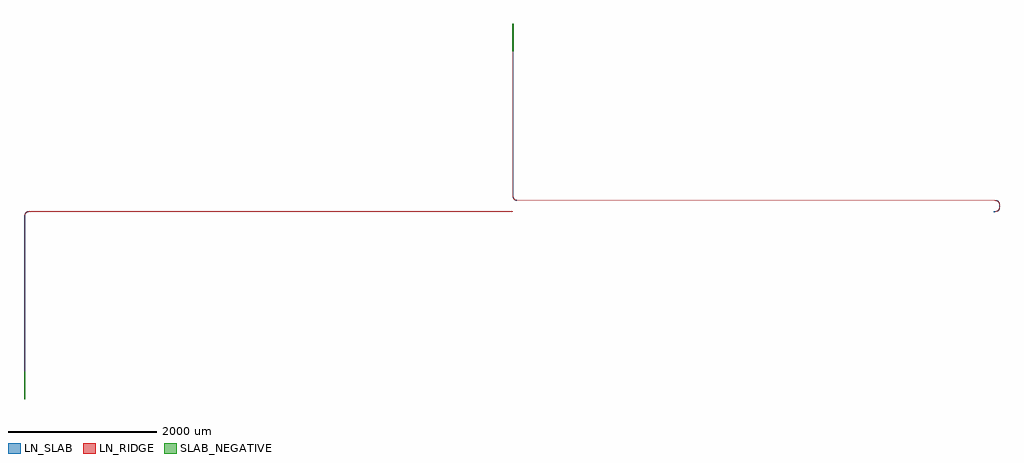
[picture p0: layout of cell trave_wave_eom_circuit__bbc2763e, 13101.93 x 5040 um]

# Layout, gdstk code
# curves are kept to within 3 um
import gdstk
lib = gdstk.Library(unit=1e-6, precision=1e-09)
def R(c, l, rs):  # rectangles x0, y0, x1, y1
    for r in rs: c.add(gdstk.rectangle(r[:2], r[2:], *l))
def P(c, l, *ps):  # polygons
    for p in ps: c.add(gdstk.Polygon(p, *l))
LN_RIDGE = (2, 0)
LN_SLAB = (3, 0)
SLAB_NEGATIVE = (3, 1)

trave_wave_eom_circuit__ = lib.new_cell('trave_wave_eom_circuit__bbc2763e')
P(trave_wave_eom_circuit__, LN_RIDGE, [(13106.93,-2.25),(13106.93,-1.25),(13119.546,-1.217),(13127.811,-0.946),(13135.5,-0.252),(13141.922,0.822),(13147.705,2.307),(13152.817,4.148),(13157.611,6.439),(13162.258,9.279),(13167.09,13.019),(13171.543,17.394),(13175.445,22.267),(13178.677,27.452),(13181.284,32.977),(13183.249,38.747),(13184.694,44.952),(13185.706,52.059),(13186.078,56.571),(13186.338,62.565),(13186.414,79.264),(13186.126,89.131),(13185.363,97.347),(13183.982,104.927),(13182.037,111.541),(13179.539,117.399),(13177.96,120.321),(13176.273,123.028),(13174.182,125.944),(13171.898,128.71),(13169.524,131.22),(13166.789,133.742),(13163.988,135.984),(13160.929,138.102),(13157.611,140.061),(13154.521,141.606),(13151.34,142.943),(13147.705,144.193),(13144.123,145.178),(13140.228,146.014),(13131.928,147.142),(13122.215,147.668),(6726.592,147.75),(6714.805,147.942),(6705.169,148.706),(6700.779,149.359),(6696.821,150.163),(6692.913,151.195),(6689.329,152.386),(6684.843,154.272),(6680.774,156.424),(6677.015,158.84),(6673.264,161.736),(6670.072,164.665),(6666.951,168.049),(6664.055,171.8),(6661.639,175.559),(6659.604,179.384),(6657.838,183.483),(6656.41,187.698),(6655.2,192.394),(6654.29,197.289),(6653.667,202.224),(6653.206,208.518),(6653.01,214.817),(6652.965,2150),(6653.34,2390),(6653.59,2390),(6653.965,2150),(6654.012,214.699),(6654.225,208.168),(6654.623,202.722),(6655.278,197.442),(6656.148,192.739),(6657.331,188.11),(6658.772,183.84),(6660.505,179.817),(6662.435,176.179),(6664.873,172.376),(6667.715,168.695),(6670.871,165.28),(6674.113,162.329),(6677.591,159.658),(6681.394,157.22),(6685.513,155.062),(6689.675,153.324),(6693.325,152.116),(6697.176,151.108),(6701.083,150.321),(6705.423,149.682),(6714.714,148.947),(6726.593,148.75),(13121.971,148.674),(13131.886,148.15),(13140.146,147.046),(13144.099,146.213),(13147.87,145.188),(13151.319,144.02),(13154.692,142.627),(13158.087,140.94),(13161.126,139.162),(13164.369,136.947),(13167.131,134.764),(13169.743,132.404),(13172.376,129.676),(13174.726,126.875),(13177.03,123.695),(13178.756,120.941),(13180.433,117.846),(13182.978,111.878),(13184.955,105.157),(13186.318,97.746),(13187.101,89.59),(13187.409,79.808),(13187.341,62.673),(13186.728,52.224),(13185.726,45.034),(13184.211,38.474),(13182.161,32.478),(13179.425,26.736),(13175.947,21.249),(13172.012,16.423),(13167.543,12.088),(13162.712,8.378),(13157.61,5.304),(13152.451,2.918),(13146.835,1.006),(13140.808,-0.422),(13134.292,-1.405),(13127.466,-1.967),(13119.693,-2.215)],
  [(99.875,-2390),(99.5,-2150),(99.545,-66.567),(99.741,-60.268),(100.202,-53.974),(100.825,-49.039),(101.735,-44.144),(102.945,-39.448),(104.373,-35.233),(106.139,-31.134),(108.174,-27.309),(110.59,-23.55),(113.486,-19.799),(116.607,-16.415),(120.111,-13.225),(123.772,-10.435),(127.66,-7.97),(131.746,-5.849),(136.118,-4.043),(139.706,-2.869),(143.356,-1.913),(147.314,-1.109),(151.704,-0.456),(161.34,0.308),(173.127,0.5),(6653.465,0.5),(6653.465,-0.5),(173.128,-0.5),(161.249,-0.697),(151.958,-1.432),(147.618,-2.071),(143.841,-2.828),(140.115,-3.791),(136.459,-4.983),(132.409,-6.644),(128.274,-8.771),(124.453,-11.18),(120.75,-13.994),(117.406,-17.03),(114.422,-20.242),(111.485,-24.017),(109.037,-27.814),(107.04,-31.567),(105.307,-35.59),(103.866,-39.86),(102.683,-44.489),(101.813,-49.192),(101.158,-54.472),(100.76,-59.918),(100.547,-66.449),(100.5,-2150),(100.125,-2390)])
P(trave_wave_eom_circuit__, LN_SLAB, [(13106.93,-6.75),(13106.93,3.25),(13127.552,3.547),(13141.968,5.438),(13153.849,9.558),(13161.878,14.563),(13170.617,23.302),(13175.568,31.223),(13178.953,40.095),(13181.352,53.789),(13180.935,96.5),(13178.002,109.449),(13172.46,120.633),(13164.224,130.009),(13153.957,136.888),(13141.968,141.062),(13123.28,143.137),(6728.465,143.25),(6707.129,143.961),(6688.046,148.064),(6678.248,152.69),(6669.47,159.067),(6657.905,173.033),(6651.127,190.03),(6648.492,216.105),(6648.465,2150),(6650.64,2150),(6653.34,2520),(6656.29,2150),(6658.465,2150),(6658.486,216.746),(6659.991,196.516),(6664.827,181.223),(6676.171,166.491),(6689.311,158.301),(6705.215,154.245),(6728.465,153.25),(13124.267,153.111),(13141.375,151.394),(13155.745,147.083),(13170.925,137.433),(13180.521,126.565),(13187.116,113.669),(13190.718,98.776),(13191.903,80.395),(13191.219,51.914),(13188.297,36.413),(13184.259,26.249),(13176.113,14.255),(13165.245,4.659),(13155.745,-0.583),(13141.375,-4.894)],
  [(99.875,-2520),(97.175,-2150),(95,-2150),(95.027,-67.855),(97.662,-41.78),(104.44,-24.783),(116.005,-10.817),(124.783,-4.44),(134.581,0.186),(153.664,4.289),(175,5),(6653.465,5),(6653.465,-5),(175,-5),(151.75,-5.995),(135.846,-10.051),(122.706,-18.241),(111.362,-32.973),(106.526,-48.266),(105.021,-68.496),(105,-2150),(102.825,-2150)])
R(trave_wave_eom_circuit__, SLAB_NEGATIVE, [(90,-2520,110,-2150), (6643.465,2150,6663.465,2520)])

lib.write_gds('trave_wave_eom_circuit__bbc2763e.gds')
